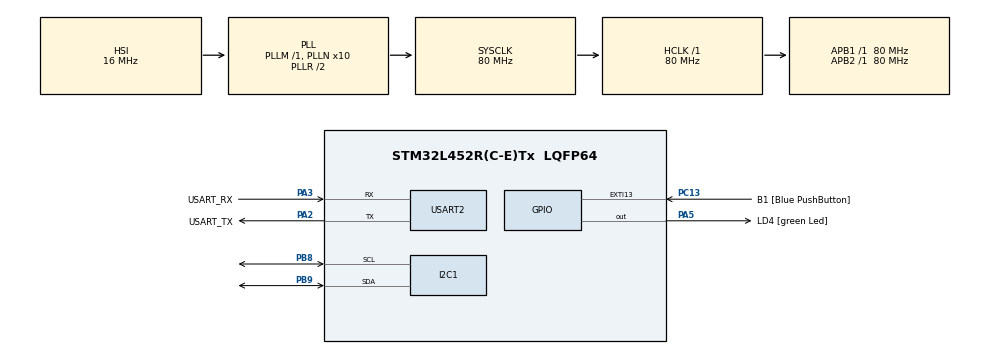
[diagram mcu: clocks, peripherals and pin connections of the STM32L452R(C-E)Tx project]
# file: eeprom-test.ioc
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I2C1.Timing=0x10909CEC
Mcu.Family=STM32L4
Mcu.Name=STM32L452R(C-E)Tx
Mcu.Package=LQFP64
NVIC.PriorityGroup=NVIC_PRIORITYGROUP_4
PA13\ (JTMS/SWDIO).GPIO_Label=TMS
PA13\ (JTMS/SWDIO).Mode=Serial_Wire
PA13\ (JTMS/SWDIO).Signal=SYS_JTMS-SWDIO
PA14\ (JTCK/SWCLK).GPIO_Label=TCK
PA14\ (JTCK/SWCLK).Mode=Serial_Wire
PA14\ (JTCK/SWCLK).Signal=SYS_JTCK-SWCLK
PA2.GPIO_Label=USART_TX
PA2.GPIO_Mode=GPIO_MODE_AF_PP
PA2.GPIO_PuPd=GPIO_NOPULL
PA2.GPIO_Speed=GPIO_SPEED_FREQ_VERY_HIGH
PA2.Mode=Asynchronous
PA2.Signal=USART2_TX
PA3.GPIO_Label=USART_RX
PA3.GPIO_Mode=GPIO_MODE_AF_PP
PA3.GPIO_PuPd=GPIO_NOPULL
PA3.GPIO_Speed=GPIO_SPEED_FREQ_VERY_HIGH
PA3.Mode=Asynchronous
PA3.Signal=USART2_RX
PA5.GPIO_Label=LD4 [green Led]
PA5.GPIO_ModeDefaultOutputPP=GPIO_MODE_OUTPUT_PP
PA5.GPIO_PuPd=GPIO_NOPULL
PA5.GPIO_Speed=GPIO_SPEED_FREQ_LOW
PA5.Signal=GPIO_Output
PB3\ (JTDO/TRACESWO).GPIO_Label=SWO
PB3\ (JTDO/TRACESWO).Signal=SYS_JTDO-SWO
PB8.Mode=I2C
PB8.Signal=I2C1_SCL
PB9.Mode=I2C
PB9.Signal=I2C1_SDA
PC13.GPIO_Label=B1 [Blue PushButton]
PC13.GPIO_ModeDefaultEXTI=GPIO_MODE_IT_FALLING
PC13.GPIO_PuPd=GPIO_NOPULL
PC13.Signal=GPXTI13
PC14-OSC32_IN\ (PC14).Mode=LSE-External-Oscillator
PC14-OSC32_IN\ (PC14).Signal=RCC_OSC32_IN
PC15-OSC32_OUT\ (PC15).Mode=LSE-External-Oscillator
PC15-OSC32_OUT\ (PC15).Signal=RCC_OSC32_OUT
PH0-OSC_IN\ (PH0).Signal=RCC_OSC_IN
PH1-OSC_OUT\ (PH1).Signal=RCC_OSC_OUT
ProjectManager.HeapSize=0x200
ProjectManager.StackSize=0x400
ProjectManager.TargetToolchain=STM32CubeIDE
RCC.ADCFreq_Value=64000000
RCC.AHBFreq_Value=80000000
RCC.APB1Freq_Value=80000000
RCC.APB1TimFreq_Value=80000000
RCC.APB2Freq_Value=80000000
RCC.APB2TimFreq_Value=80000000
RCC.CortexFreq_Value=80000000
RCC.HCLKFreq_Value=80000000
RCC.HSE_VALUE=8000000
RCC.HSI48_VALUE=48000000
RCC.HSI_VALUE=16000000
RCC.MSI_VALUE=4000000
RCC.PLLN=10
RCC.PLLSourceVirtual=RCC_PLLSOURCE_HSI
RCC.PREFETCH_ENABLE=1
RCC.SYSCLKFreq_VALUE=80000000
RCC.SYSCLKSource=RCC_SYSCLKSOURCE_PLLCLK
RCC.USBFreq_Value=64000000
RCC.VCOOutputFreq_Value=160000000
USART2.VirtualMode-Asynchronous=VM_ASYNC
board=NUCLEO-L452RE

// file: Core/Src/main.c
/* USER CODE BEGIN Header */
/**
  ******************************************************************************
  * @file           : main.c
  * @brief          : Main program body
  ******************************************************************************
  * @attention
  *
  * Copyright (c) 2023 STMicroelectronics.
  * All rights reserved.
  *
  * This software is licensed under terms that can be found in the LICENSE file
  * in the root directory of this software component.
  * If no LICENSE file comes with this software, it is provided AS-IS.
  *
  ******************************************************************************
  */
/* USER CODE END Header */
#include "main.h"

/* USER CODE BEGIN Includes */
#include <string.h>
#include <stdio.h>
/* USER CODE END Includes */

I2C_HandleTypeDef hi2c1;

UART_HandleTypeDef huart2;

/* USER CODE BEGIN PV */
#define EEPROM_ADDR 0x50 << 1
/* USER CODE END PV */

void SystemClock_Config(void);
static void MX_GPIO_Init(void);
static void MX_USART2_UART_Init(void);
static void MX_I2C1_Init(void);
/* USER CODE BEGIN PFP */

uint8_t data_rec[6] = {0};
uint8_t buffer[4] = {0};  // floats are 4 bytes!
float f = 0;

// function declarations
void eeprom_write_byte (uint16_t addr, uint8_t value);
void eeprom_write_bytes (uint16_t addr, uint8_t *buf, uint8_t numberofbytes);
void eeprom_read_bytes (uint16_t addr, uint8_t numberofbytes);
void print_status (HAL_StatusTypeDef);

// writes one byte
void eeprom_write_byte (uint16_t addr, uint8_t value) {
	uint8_t data[1] = {0};
	data[0] = value;
	HAL_StatusTypeDef status = HAL_I2C_Mem_Write(&hi2c1, EEPROM_ADDR, addr, I2C_MEMADD_SIZE_16BIT, data, 1, 10);
	// print status
	HAL_UART_Transmit(&huart2, (uint8_t*)"\r\n eeprom_write: ", sizeof("\r\n eeprom_write: "), 10);
	print_status(status);
}

// writes several byte
void eeprom_write_bytes (uint16_t addr, uint8_t *buf, uint8_t numberofbytes) {
	HAL_UART_Transmit(&huart2, (uint8_t*)"\r\n eeprom_write_bytes: ", sizeof("\r\n eeprom_write_bytes: "), 10);
	while (numberofbytes--) {
		eeprom_write_byte(addr,*buf); // dereference
		buf++;
	}
}

// reads a number of bytes
void eeprom_read_bytes (uint16_t addr, uint8_t numberofbytes) {
	HAL_StatusTypeDef status = HAL_I2C_Mem_Read (&hi2c1, EEPROM_ADDR, addr, I2C_MEMADD_SIZE_16BIT, data_rec, numberofbytes, 100);
	// print status
	HAL_UART_Transmit(&huart2, (uint8_t*)"\r\n eeprom_read: ", sizeof("\r\n eeprom_read: "), 10);
	print_status(status);
}

// prints HAL status
void print_status (HAL_StatusTypeDef status) {
	if (HAL_ERROR == status) {
		HAL_UART_Transmit(&huart2, (uint8_t*)"HAL_ERROR returned", sizeof("HAL_ERROR returned"), 10);
	} else if (HAL_BUSY == status){
		HAL_UART_Transmit(&huart2, (uint8_t*)"HAL_BUSY returned", sizeof("HAL_BUSY returned"), 10);
	} else if (HAL_OK == status) {
		HAL_UART_Transmit(&huart2, (uint8_t*)"HAL_OK returned", sizeof("HAL_OK returned"), 10);
	}
}

/* USER CODE END PFP */

int main(void)
{

  /* MCU Configuration--------------------------------------------------------*/

  /* Reset of all peripherals, Initializes the Flash interface and the Systick. */
  HAL_Init();

  /* Configure the system clock */
  SystemClock_Config();

  /* Initialize all configured peripherals */
  MX_GPIO_Init();
  MX_USART2_UART_Init();
  MX_I2C1_Init();
  /* USER CODE BEGIN 2 */

  	// 1. Read and write a number (value: 4)
	eeprom_write_byte(0x00, 4); // write value 4 into 0x00
	eeprom_read_bytes(0x00, 1); // reads back 4 from 0x00

	// 2. Read and write a float (value: pi)
	f = 3.141592;
	memcpy(buffer, (void *)&f, 4);
	eeprom_write_bytes(0x00,buffer,4); // write

	eeprom_read_bytes (0x00, 4); // read
	memcpy((void *)&f, buffer, 4);

  /* USER CODE END 2 */

  /* Infinite loop */
  while (1)
  {

  }
}

void SystemClock_Config(void)
{
  RCC_OscInitTypeDef RCC_OscInitStruct = {0};
  RCC_ClkInitTypeDef RCC_ClkInitStruct = {0};

  /** Configure the main internal regulator output voltage
  */
  if (HAL_PWREx_ControlVoltageScaling(PWR_REGULATOR_VOLTAGE_SCALE1) != HAL_OK)
  {
    Error_Handler();
  }

  /** Initializes the RCC Oscillators according to the specified parameters
  * in the RCC_OscInitTypeDef structure.
  */
  RCC_OscInitStruct.OscillatorType = RCC_OSCILLATORTYPE_HSI;
  RCC_OscInitStruct.HSIState = RCC_HSI_ON;
  RCC_OscInitStruct.HSICalibrationValue = RCC_HSICALIBRATION_DEFAULT;
  RCC_OscInitStruct.PLL.PLLState = RCC_PLL_ON;
  RCC_OscInitStruct.PLL.PLLSource = RCC_PLLSOURCE_HSI;
  RCC_OscInitStruct.PLL.PLLM = 1;
  RCC_OscInitStruct.PLL.PLLN = 10;
  RCC_OscInitStruct.PLL.PLLP = RCC_PLLP_DIV7;
  RCC_OscInitStruct.PLL.PLLQ = RCC_PLLQ_DIV2;
  RCC_OscInitStruct.PLL.PLLR = RCC_PLLR_DIV2;
  if (HAL_RCC_OscConfig(&RCC_OscInitStruct) != HAL_OK)
  {
    Error_Handler();
  }

  /** Initializes the CPU, AHB and APB buses clocks
  */
  RCC_ClkInitStruct.ClockType = RCC_CLOCKTYPE_HCLK|RCC_CLOCKTYPE_SYSCLK
                              |RCC_CLOCKTYPE_PCLK1|RCC_CLOCKTYPE_PCLK2;
  RCC_ClkInitStruct.SYSCLKSource = RCC_SYSCLKSOURCE_PLLCLK;
  RCC_ClkInitStruct.AHBCLKDivider = RCC_SYSCLK_DIV1;
  RCC_ClkInitStruct.APB1CLKDivider = RCC_HCLK_DIV1;
  RCC_ClkInitStruct.APB2CLKDivider = RCC_HCLK_DIV1;

  if (HAL_RCC_ClockConfig(&RCC_ClkInitStruct, FLASH_LATENCY_4) != HAL_OK)
  {
    Error_Handler();
  }
}

static void MX_I2C1_Init(void)
{

  hi2c1.Instance = I2C1;
  hi2c1.Init.Timing = 0x10909CEC;
  hi2c1.Init.OwnAddress1 = 0;
  hi2c1.Init.AddressingMode = I2C_ADDRESSINGMODE_7BIT;
  hi2c1.Init.DualAddressMode = I2C_DUALADDRESS_DISABLE;
  hi2c1.Init.OwnAddress2 = 0;
  hi2c1.Init.OwnAddress2Masks = I2C_OA2_NOMASK;
  hi2c1.Init.GeneralCallMode = I2C_GENERALCALL_DISABLE;
  hi2c1.Init.NoStretchMode = I2C_NOSTRETCH_DISABLE;
  if (HAL_I2C_Init(&hi2c1) != HAL_OK)
  {
    Error_Handler();
  }

  /** Configure Analogue filter
  */
  if (HAL_I2CEx_ConfigAnalogFilter(&hi2c1, I2C_ANALOGFILTER_ENABLE) != HAL_OK)
  {
    Error_Handler();
  }

  /** Configure Digital filter
  */
  if (HAL_I2CEx_ConfigDigitalFilter(&hi2c1, 0) != HAL_OK)
  {
    Error_Handler();
  }

}

static void MX_USART2_UART_Init(void)
{

  huart2.Instance = USART2;
  huart2.Init.BaudRate = 115200;
  huart2.Init.WordLength = UART_WORDLENGTH_8B;
  huart2.Init.StopBits = UART_STOPBITS_1;
  huart2.Init.Parity = UART_PARITY_NONE;
  huart2.Init.Mode = UART_MODE_TX_RX;
  huart2.Init.HwFlowCtl = UART_HWCONTROL_NONE;
  huart2.Init.OverSampling = UART_OVERSAMPLING_16;
  huart2.Init.OneBitSampling = UART_ONE_BIT_SAMPLE_DISABLE;
  huart2.AdvancedInit.AdvFeatureInit = UART_ADVFEATURE_NO_INIT;
  if (HAL_UART_Init(&huart2) != HAL_OK)
  {
    Error_Handler();
  }

}

static void MX_GPIO_Init(void)
{
  GPIO_InitTypeDef GPIO_InitStruct = {0};

  /* GPIO Ports Clock Enable */
  __HAL_RCC_GPIOC_CLK_ENABLE();
  __HAL_RCC_GPIOH_CLK_ENABLE();
  __HAL_RCC_GPIOA_CLK_ENABLE();
  __HAL_RCC_GPIOB_CLK_ENABLE();

  /*Configure GPIO pin Output Level */
  HAL_GPIO_WritePin(LD4_GPIO_Port, LD4_Pin, GPIO_PIN_RESET);

  /*Configure GPIO pin : B1_Pin */
  GPIO_InitStruct.Pin = B1_Pin;
  GPIO_InitStruct.Mode = GPIO_MODE_IT_FALLING;
  GPIO_InitStruct.Pull = GPIO_NOPULL;
  HAL_GPIO_Init(B1_GPIO_Port, &GPIO_InitStruct);

  /*Configure GPIO pin : LD4_Pin */
  GPIO_InitStruct.Pin = LD4_Pin;
  GPIO_InitStruct.Mode = GPIO_MODE_OUTPUT_PP;
  GPIO_InitStruct.Pull = GPIO_NOPULL;
  GPIO_InitStruct.Speed = GPIO_SPEED_FREQ_LOW;
  HAL_GPIO_Init(LD4_GPIO_Port, &GPIO_InitStruct);

}

void Error_Handler(void)
{
  __disable_irq();
  while (1)
  {
  }
}
